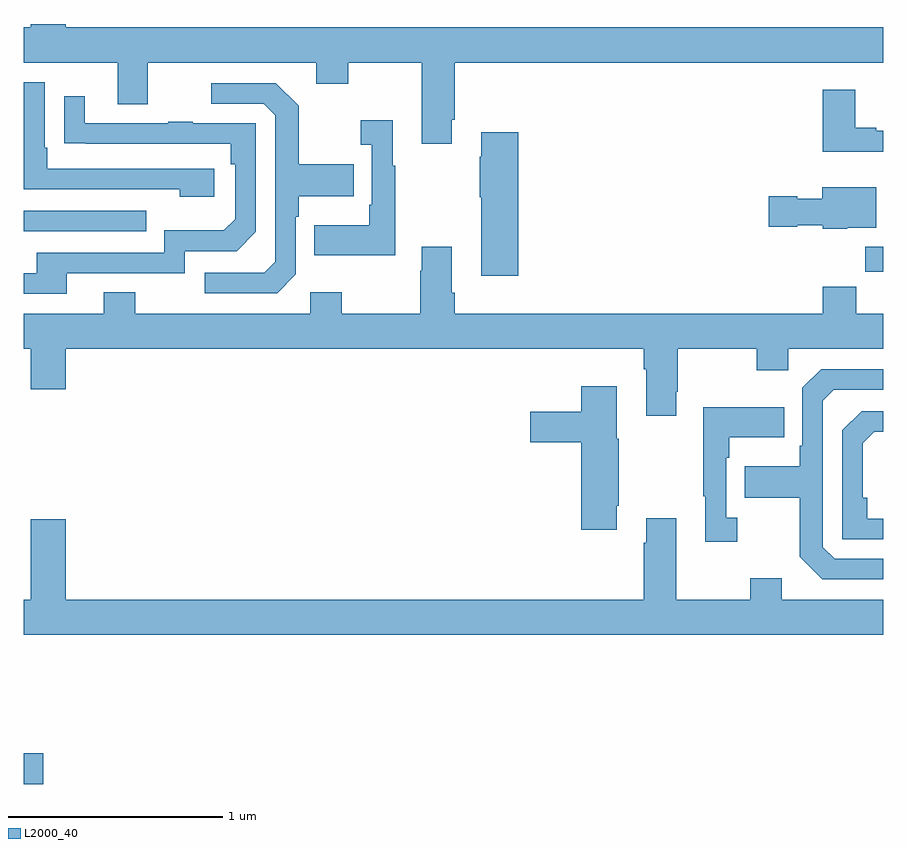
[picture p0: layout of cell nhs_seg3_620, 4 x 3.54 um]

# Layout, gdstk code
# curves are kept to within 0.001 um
import gdstk
lib = gdstk.Library(unit=1e-6, precision=1e-09)
def R(c, l, rs):  # rectangles x0, y0, x1, y1
    for r in rs: c.add(gdstk.rectangle(r[:2], r[2:], *l))
def P(c, l, *ps):  # polygons
    for p in ps: c.add(gdstk.Polygon(p, *l))
L2000_40 = (2000, 40)

nhs_seg3_620 = lib.new_cell('nhs_seg3_620')
R(nhs_seg3_620, L2000_40, [(141,726.862,141.091,727.004), (144.916,729.246,145,729.364), (141,729.435,141.569,729.531)])
P(nhs_seg3_620, L2000_40, [(142.993,729.955),(143.006,729.955),(143.006,730.22),(145,730.22),(145,730.384),(141.196,730.384),(141.196,730.4),(141.032,730.4),(141.032,730.384),(141,730.384),(141,730.22),(141.437,730.22),(141.437,730.026),(141.577,730.026),(141.577,730.22),(142.361,730.22),(142.361,730.121),(142.509,730.121),(142.509,730.22),(142.853,730.22),(142.853,729.843),(142.993,729.843)],
  [(141.886,729.726),(141.109,729.726),(141.109,729.823),(141.096,729.823),(141.096,730.128),(141,730.128),(141,729.63),(141.725,729.63),(141.725,729.596),(141.886,729.596)],
  [(142.266,729.234),(142.266,729.503),(142.279,729.503),(142.279,729.599),(142.535,729.599),(142.535,729.747),(142.279,729.747),(142.279,730.019),(142.173,730.125),(141.873,730.125),(141.873,730.029),(142.116,730.029),(142.17,729.975),(142.17,729.294),(142.119,729.243),(141.843,729.243),(141.843,729.147),(142.179,729.147)],
  [(145,729.903),(144.967,729.903),(144.967,729.916),(144.871,729.916),(144.871,730.093),(144.719,730.093),(144.719,729.806),(145,729.806)],
  [(141.199,729.24),(141.75,729.24),(141.75,729.342),(141.99,729.342),(142.08,729.432),(142.08,729.939),(141.785,729.939),(141.785,729.944),(141.673,729.944),(141.673,729.939),(141.283,729.939),(141.283,730.063),(141.187,730.063),(141.187,729.844),(141.964,729.843),(141.964,729.746),(141.984,729.746),(141.984,729.492),(141.931,729.439),(141.654,729.439),(141.654,729.336),(141.059,729.336),(141.059,729.24),(141,729.24),(141,729.144),(141.199,729.144)],
  [(142.729,729.739),(142.717,729.739),(142.717,729.952),(142.569,729.952),(142.569,729.839),(142.62,729.839),(142.62,729.559),(142.608,729.559),(142.608,729.463),(142.351,729.463),(142.351,729.323),(142.729,729.323)],
  [(143.302,729.895),(143.129,729.895),(143.129,729.782),(143.122,729.782),(143.122,729.593),(143.129,729.593),(143.129,729.228),(143.302,729.228)],
  [(144.834,729.452),(144.967,729.452),(144.967,729.64),(144.716,729.64),(144.716,729.586),(144.6,729.586),(144.6,729.599),(144.468,729.599),(144.468,729.457),(144.6,729.457),(144.6,729.464),(144.72,729.464),(144.72,729.446),(144.834,729.446)],
  [(142.993,729.148),(142.993,729.364),(142.853,729.364),(142.853,729.251),(142.846,729.251),(142.846,729.052),(142.479,729.052),(142.479,729.151),(142.332,729.151),(142.332,729.052),(141.519,729.052),(141.519,729.151),(141.371,729.151),(141.371,729.052),(141,729.052),(141,728.888),(141.032,728.888),(141.032,728.7),(141.196,728.7),(141.196,728.888),(143.885,728.888),(143.885,728.792),(143.897,728.792),(143.897,728.577),(144.037,728.577),(144.037,728.689),(144.045,728.689),(144.045,728.888),(144.412,728.888),(144.412,728.789),(144.558,728.789),(144.558,728.888),(145,728.888),(145,729.052),(144.875,729.052),(144.875,729.176),(144.719,729.176),(144.719,729.052),(143.006,729.052),(143.006,729.148)],
  [(145,727.911),(144.774,727.911),(144.72,727.965),(144.72,728.646),(144.771,728.697),(145,728.697),(145,728.793),(144.711,728.793),(144.624,728.706),(144.624,728.437),(144.612,728.437),(144.612,728.341),(144.355,728.341),(144.355,728.194),(144.612,728.194),(144.612,727.921),(144.717,727.815),(145,727.815)],
  [(143.761,728.158),(143.769,728.158),(143.769,728.469),(143.761,728.469),(143.761,728.713),(143.594,728.713),(143.594,728.595),(143.358,728.595),(143.358,728.453),(143.594,728.453),(143.594,728.046),(143.761,728.046)],
  [(144.322,728.102),(144.27,728.102),(144.27,728.381),(144.283,728.381),(144.283,728.477),(144.539,728.477),(144.539,728.617),(144.162,728.617),(144.162,728.201),(144.173,728.201),(144.173,727.989),(144.322,727.989)],
  [(145,728.097),(144.926,728.097),(144.926,728.194),(144.906,728.194),(144.906,728.448),(144.959,728.501),(145,728.501),(145,728.598),(144.9,728.598),(144.81,728.508),(144.81,728.001),(145,728.001)],
  [(145,727.72),(144.529,727.72),(144.529,727.819),(144.382,727.819),(144.382,727.72),(144.037,727.72),(144.037,728.098),(143.897,728.098),(143.897,727.985),(143.885,727.985),(143.885,727.72),(141.196,727.72),(141.196,728.095),(141.032,728.095),(141.032,727.72),(141,727.72),(141,727.556),(145,727.556)])

lib.write_gds('nhs_seg3_620.gds')
